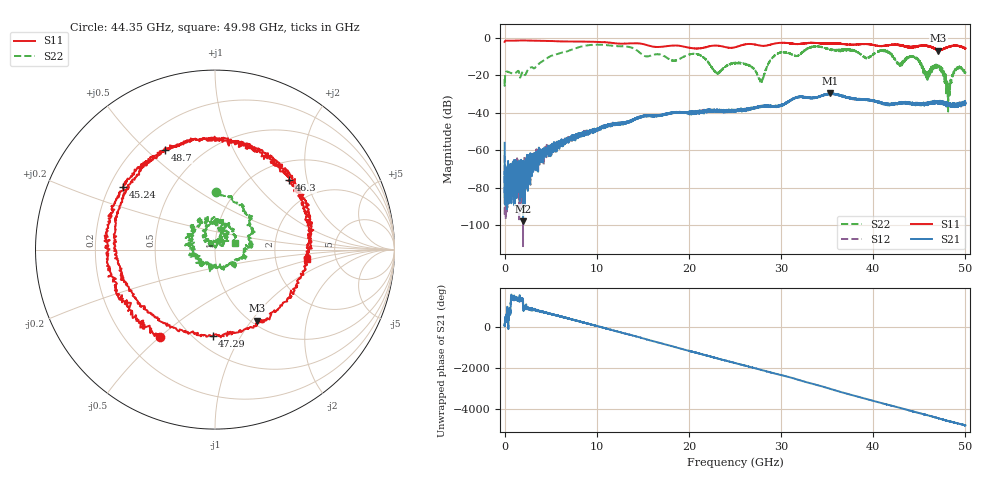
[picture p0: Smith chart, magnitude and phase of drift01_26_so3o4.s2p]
!Created with skrf (http://scikit-rf.org).
# Hz S RI R 50.0
!freq ReS11 ImS11 ReS21 ImS21 ReS12 ImS12 ReS22 ImS22
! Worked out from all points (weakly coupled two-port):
!   10001 points, 300 kHz to 50 GHz, reference 50 ohm
!   highest |S21| = -29.53 dB at 35.29 GHz (marker M1); lowest = -97.9 dB at 2.005 GHz (marker M2)
!   lowest |S11| = -6.7 dB at 47.07 GHz (marker M3), VSWR 2.71, Z = 52.9 - j53.3 ohm
!   |S11| at or under -10 dB: nowhere
!   |S22| runs from -39.3 to -3.6 dB; largest |S21 - S12| = 0.0045
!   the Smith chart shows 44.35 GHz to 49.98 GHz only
!   S11 on the Smith chart (normalised r, x): 44.35 GHz: 0.34, -0.50; 45.24 GHz: 0.26, +0.29; 46.3 GHz: 1.38, +1.56; 47.29 GHz: 0.61, -0.76; 48.7 GHz: 0.32, +0.57; 49.98 GHz: 3.08, -0.42
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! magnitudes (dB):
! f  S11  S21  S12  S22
! 300 kHz  -2.1  -56.0  -62.7  -22.0
! 255.3 MHz  -1.4  -86.5  -74.9  -18.0
! 2.005 GHz  -1.4  -97.9  -74.7  -18.2
! 8.335 GHz  -1.9  -51.4  -51.9  -4.6
! 16.67 GHz  -4.8  -41.5  -41.4  -8.7
! 20.97 GHz  -5.6  -39.5  -39.2  -8.8
! 23.07 GHz  -4.1  -39.0  -39.1  -18.7
! 25 GHz  -5.0  -39.4  -38.9  -13.6
! 27.84 GHz  -4.2  -36.4  -36.7  -23.0
! 29.48 GHz  -2.9  -36.8  -36.5  -8.8
! 33.34 GHz  -2.6  -32.1  -31.9  -4.7
! 35.29 GHz  -3.0  -29.5  -29.8  -6.2
! 41.67 GHz  -3.9  -35.7  -35.6  -7.9
! 44.35 GHz  -4.8  -35.3  -35.2  -9.9
! 45.24 GHz  -4.1  -35.8  -35.4  -14.7
! 46.3 GHz  -5.0  -34.8  -34.7  -16.5
! 47.07 GHz  -6.7  -34.2  -34.7  -16.3
! 47.29 GHz  -6.4  -34.6  -34.7  -16.5
! 48.13 GHz  -4.9  -35.4  -35.4  -33.4
! 48.7 GHz  -4.1  -36.1  -35.9  -18.6
! 49.98 GHz  -5.7  -35.6  -34.2  -18.5
! 50 GHz  -5.6  -34.9  -35.6  -18.5
